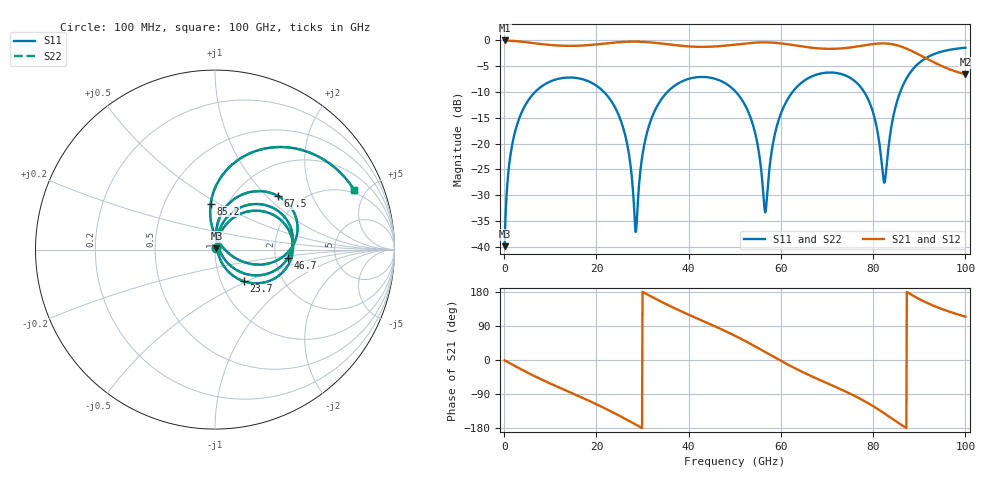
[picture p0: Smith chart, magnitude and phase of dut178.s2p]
! Touchstone file exported from HFSS 2026.1.0
!  File:  C:/ffzhzh/LocalFiles/Ansys_Project_Files/temp_train_TSV_RDL_178_1783652460_29156.aedt
!  Generated:  11:08:15 AM Jul 10, 2026
!  Design:  TSV_RDL
!  Project:  temp_train_TSV_RDL_178_1783652460_29156
! Variables:
!  h_bsmrdl = 4.07um
!  h_ox = 20um
!  h_rdl = 5um
!  h_sub = 53.11um
!  h_tmrdl = 4.11um
!  h_tsv = 53.11um
!  h_via = 3um
!  l_bsmrdl = 155.08um
!  l_sub = 2130.93um
!  l_tmrdl = 279.98um
!  m_sub = 200um
!  pitch = 44.15um
!  r_tsv = 7um
!  s_tmrdl = 10um
!  w_bsmrdl = 28.21um
!  w_sub = 500um
!  w_tmrdl = 20.38um
!  x_tsv_center1 = 290.17um
!  x_tsv_center2 = 473.46um
!  x_tsv_center3 = 773.82um
!  x_tsv_center4 = 957.11um
!  x_tsv_center5 = 1257.47um
!  x_tsv_center6 = 1440.76um
# GHz S MA R 50.000000
! Terminal data exported
! Port[1] = TM_RDL1_1_T1
! Port[2] = TM_RDL5_1_T1
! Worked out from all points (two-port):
!   1000 points, 100 MHz to 100 GHz, reference 50 ohm
!   highest |S21| = -0.07 dB at 100 MHz (marker M1); lowest = -6.6 dB at 100 GHz (marker M2)
!   |S21| within 3 dB of the highest: start of sweep to 90.5 GHz
!   lowest |S11| = -39.8 dB at 100 MHz (marker M3), VSWR 1.02, Z = 50.8 + j0.625 ohm
!   |S11| at or under -10 dB: 21.61 GHz to 35.42 GHz (13.81 GHz wide, 48.4 % of centre); 50.22 GHz to 62.54 GHz (12.32 GHz wide, 21.9 % of centre); 78.04 GHz to 85.88 GHz (7.837 GHz wide, 9.56 % of centre) (the widest 3 of 4)
!   |S22| runs from -39.8 to -1.5 dB; largest |S21 - S12| = 3.2e-13
!   S11 on the Smith chart (normalised r, x): 100 MHz: 1.02, +0.01; 23.7 GHz: 1.28, -0.48; 46.7 GHz: 2.34, -0.27; 67.5 GHz: 1.54, +1.17; 85.2 GHz: 0.84, +0.46; 100 GHz: 1.81, +4.15
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0.1  0.01022 37.0  0.9919 -0.7  0.9919 -0.7  0.01022 37.0
! Gamma 0 0 0 0
! Port Impedance 50 0 50 0
1.5  0.08476 72.4  0.9855 -10.2  0.9855 -10.2  0.08476 72.4
4.3  0.2228 57.5  0.9595 -28.6  0.9595 -28.6  0.2228 57.5
16.8  0.4209 -10.1  0.8855 -98.7  0.8855 -98.7  0.4209 -10.1
23.7  0.2381 -47.8  0.9439 -138.9  0.9439 -138.9  0.238 -47.9
26.6  0.1025 -61.7  0.9637 -157.6  0.9637 -157.6  0.1024 -62.0
28.5  0.01403 -0.4  0.9666 -170.2  0.9666 -170.2  0.01339 -0.7
30.5  0.1037 77.5  0.9592 176.5  0.9592 176.5  0.1037 77.9
33.4  0.2399 63.6  0.9335 157.9  0.9335 157.9  0.2399 63.8
46.7  0.4083 -6.6  0.8738 83.4  0.8738 83.4  0.4084 -6.6
50.1  0.3205 -24.9  0.9055 63.6  0.9055 63.6  0.3206 -24.9
54.1  0.1434 -45.0  0.9433 38.0  0.9433 38.0  0.1436 -45.0
56.6  0.02167 18.5  0.9506 21.0  0.9506 21.0  0.02164 18.1
60  0.1948 80.7  0.9294 -2.2  0.9294 -2.2  0.1947 80.8
66.7  0.4459 44.8  0.8441 -43.2  0.8441 -43.2  0.4458 44.8
67.5  0.4605 40.6  0.8369 -47.6  0.8369 -47.6  0.4603 40.6
77.8  0.3282 -12.5  0.8859 -106.3  0.8859 -106.3  0.328 -12.5
82.4  0.0419 34.4  0.9287 -140.7  0.9287 -140.7  0.04161 34.6
83.4  0.09787 93.8  0.9225 -148.9  0.9225 -148.9  0.0979 94.0
85.2  0.2572 95.3  0.8906 -163.8  0.8906 -163.8  0.2573 95.4
91.2  0.6604 59.7  0.6761 153.5  0.6761 153.5  0.6604 59.8
100  0.8438 23.0  0.468 114.4  0.468 114.4  0.8438 23.1
